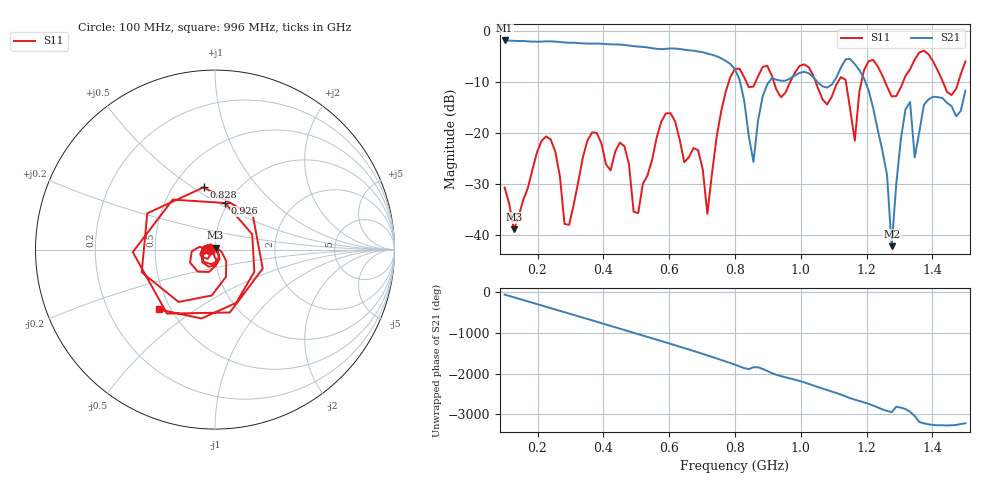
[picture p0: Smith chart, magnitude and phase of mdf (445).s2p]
! NanoVNA-App
! Date: 2025-09-25 15:41:53
! Start: 100MHz Stop: 1,5GHz Points: 101
! S-Parameter data: F S11 S21 S12 S22
# Hz S RI R 50
!  Frequency  S11_Real  S11_Imag  S21_Real  S21_Imag  S12_Real  S12_Imag  S22_Real  S22_Imag
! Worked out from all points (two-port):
!   101 points, 100 MHz to 1.5 GHz, reference 50 ohm
!   highest |S21| = -1.80 dB at 100 MHz (marker M1); lowest = -42.3 dB at 1.276 GHz (marker M2)
!   |S21| within 3 dB of the highest: start of sweep to 739.2 MHz
!   lowest |S11| = -39.0 dB at 128 MHz (marker M3), VSWR 1.02, Z = 50.3 + j1.08 ohm
!   |S11| at or under -10 dB: start of sweep to 781 MHz; 1.045 GHz to 1.113 GHz (67.22 MHz wide, 6.23 % of centre); 1.256 GHz to 1.31 GHz (54.22 MHz wide, 4.22 % of centre) (the widest 3 of 7)
!   S12 and S22 are empty: the file has one direction only
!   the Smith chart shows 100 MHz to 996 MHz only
!   S11 on the Smith chart (normalised r, x): 100 MHz: 0.94, -0.01; 828 MHz: 0.70, +0.56; 926 MHz: 0.97, +0.54; 996 MHz: 0.43, -0.36
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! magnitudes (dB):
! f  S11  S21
! 100 MHz  -30.7  -1.8
! 128 MHz  -39.0  -1.9
! 212 MHz  -21.6  -2.0
! 282 MHz  -37.9  -2.2
! 338 MHz  -24.7  -2.4
! 464 MHz  -22.6  -2.7
! 506 MHz  -35.8  -3.0
! 576 MHz  -17.8  -3.5
! 716 MHz  -35.9  -4.4
! 800 MHz  -7.4  -7.5
! 828 MHz  -9.0  -13.7
! 856 MHz  -10.9  -25.7
! 926 MHz  -11.5  -9.5
! 996 MHz  -6.8  -8.2
! 1.038 GHz  -8.7  -9.0
! 1.136 GHz  -9.5  -5.5
! 1.164 GHz  -21.5  -6.5
! 1.192 GHz  -7.7  -9.3
! 1.276 GHz  -12.8  -42.3
! 1.318 GHz  -8.8  -15.3
! 1.346 GHz  -5.6  -24.8
! 1.5 GHz  -5.9  -11.7
